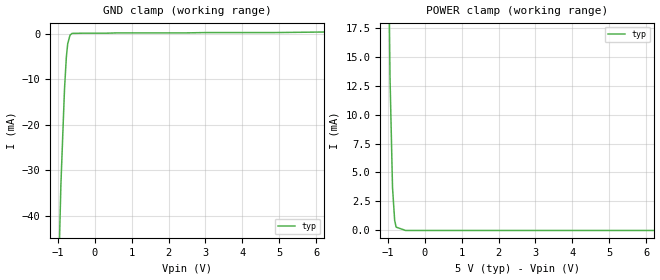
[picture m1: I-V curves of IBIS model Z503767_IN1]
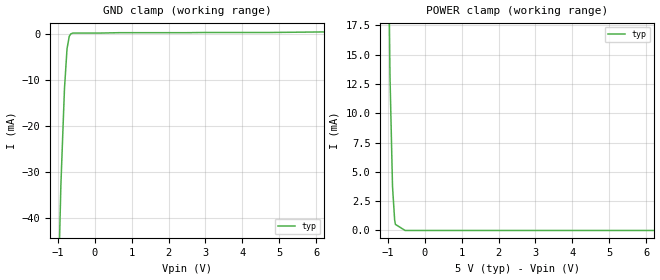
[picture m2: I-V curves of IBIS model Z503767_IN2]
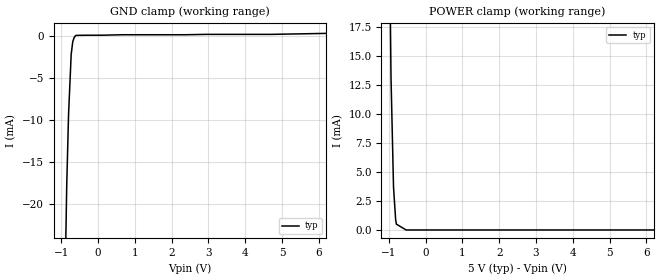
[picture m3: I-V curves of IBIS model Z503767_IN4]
| YOU ARE ONLY AUTHORIZED TO USE THIS SOFTWARE
| ACCORDING TO LICENSOR'S LICENSE RESTRICTIONS.
[IBIS Ver] 3.1
[File Name] mc74ac257dl.ibs
[File Rev] 2.0
[Source] Measured and created by ICX Technology
[Date] Friday 7/14/00 9:07:59 AM
[Copyright]
| (C) COPYRIGHT 1993-2000
| MENTOR GRAPHICS CORPORATION
| ICX STANDARD LIBRARY, ICX PROJECT MODELING,
| ICX CUSTOM MODELING, ICX VENDOR MODEL
| ALL RIGHTS RESERVED.
| THE FOLLOWING ARE TRADEMARKS OR SERVICE MARKS OF
| MENTOR GRAPHICS CORPORATION:ICX (R), ICX STANDARD
| LIBRARY(R), ICX PROJECT MODELING(R), ICX CUSTOM
| MODELING(R), qualityIBIS(TM), MODELVIEWER(TM),
| AND MODELEDITOR(TM)
| ALL COPIES OF SOFTWARE, INCLUDING BUT NOT LIMITED TO
| ANY MODIFICATIONS, ENHANCEMENTS OR DERIVATIVE WORKS,
| MUST CONTAIN ALL MENTOR GRAPHICS CORPORATION'S
| NOTICES AND LEGENDS, INCLUDING THOSE EMBEDDED IN
| SOFTWARE AND THOSE AFFIXED TO SOFTWARE MEDIUM
| AND CONTAINER, AS RECEIVED FROM MENTOR GRAPHICS
| CORPORATION.
|  ZAP Model Builder 2.7
[Component] MC74AC257DL
[Manufacturer] OnSemiconductor
[Package]
| variable   typ   min   max
R_pkg  .156ohms NA NA
L_pkg  3.148nH NA NA
C_pkg  .388pF NA NA
[Pin] signal_name  model_name  R_pin  L_pin C_pin
1 S Z503767_IN1 .162 3.798n .418p
2 A1 Z503767_IN2 .158 3.358n .398p
3 B1 Z503767_IN2 .154 2.928n .378p
4 D1 Z503767_TRI3 .15 2.508n .358p
5 A2 Z503767_IN2 .15 2.508n .358p
6 B2 Z503767_IN2 .154 2.928n .378p
7 D2 Z503767_TRI3 .158 3.358n .398p
8 GND GND .162 3.798n .418p
9 D3 Z503767_TRI3 .162 3.798n .418p
10 B3 Z503767_IN2 .158 3.358n .398p
11 A3 Z503767_IN2 .154 2.928n .378p
12 D4 Z503767_TRI3 .15 2.508n .358p
13 B4 Z503767_IN2 .15 2.508n .358p
14 A4 Z503767_IN2 .154 2.928n .378p
15 _OE Z503767_IN4 .158 3.358n .398p
16 VCC POWER .162 3.798n .418p
| Models and submodels in the file (4): Z503767_IN1 (Input), Z503767_IN2 (Input), Z503767_IN4 (Input), Z503767_TRI3 (3-state)
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| (C) COPYRIGHT 1993-2000
| MENTOR GRAPHICS CORPORATION
| ICX STANDARD LIBRARY, ICX PROJECT MODELING,
| ICX CUSTOM MODELING, ICX VENDOR MODEL
| ALL RIGHTS RESERVED.
| THE FOLLOWING ARE TRADEMARKS OR SERVICE MARKS OF
| MENTOR GRAPHICS CORPORATION:ICX (R), ICX STANDARD
| LIBRARY(R), ICX PROJECT MODELING(R), ICX CUSTOM
| MODELING(R), qualityIBIS(TM), MODELVIEWER(TM),
| AND MODELEDITOR(TM)
| ALL COPIES OF SOFTWARE, INCLUDING BUT NOT LIMITED TO
| ANY MODIFICATIONS, ENHANCEMENTS OR DERIVATIVE WORKS,
| MUST CONTAIN ALL MENTOR GRAPHICS CORPORATION'S
| NOTICES AND LEGENDS, INCLUDING THOSE EMBEDDED IN
| SOFTWARE AND THOSE AFFIXED TO SOFTWARE MEDIUM
| AND CONTAINER, AS RECEIVED FROM MENTOR GRAPHICS
| CORPORATION.
| Model Application Version 1.89 2/18/99.
[Model] Z503767_IN1
Model_type Input
Vinl = 1.500V
Vinh = 3.500V
C_comp 4.500pF NA NA
| variable typ   min   max
[Voltage Range] 5.000V NA NA
[GND Clamp Reference] 0.000V NA NA
[POWER Clamp Reference] 5.000V NA NA
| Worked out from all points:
|   GND clamp passes 1 mA (typ) near -0.69 V on its own axis
|   POWER clamp passes 1 mA (typ) near -0.81 V on its own axis
[GND Clamp]
-5V       -2.275A    NA         NA
-1.061V   -81.3mA    NA         NA
-913.1mV  -33.23mA   NA         NA
-815.4mV  -12.25mA   NA         NA
-765.4mV  -5.163mA   NA         NA
-728.2mV  -2.204mA   NA         NA
-666.7mV  -341.8uA   NA         NA
-610.3mV  62.55uA    NA         NA
4.807V    237.7uA    NA         NA
10V       704.3uA    NA         NA
[POWER Clamp]
-5V       2.665A     NA         NA
-1.133V   93.15mA    NA         NA
-1.015V   36.32mA    NA         NA
-937mV    13.26mA    NA         NA
-869mV    3.73mA     NA         NA
-811mV    870uA      NA         NA
-771mV    287.8uA    NA         NA
-514mV    0A         NA         NA
10V       0A         NA         NA
| (C) COPYRIGHT 1993-2000
| MENTOR GRAPHICS CORPORATION
| ICX STANDARD LIBRARY, ICX PROJECT MODELING,
| ICX CUSTOM MODELING, ICX VENDOR MODEL
| ALL RIGHTS RESERVED.
| THE FOLLOWING ARE TRADEMARKS OR SERVICE MARKS OF
| MENTOR GRAPHICS CORPORATION:ICX (R), ICX STANDARD
| LIBRARY(R), ICX PROJECT MODELING(R), ICX CUSTOM
| MODELING(R), qualityIBIS(TM), MODELVIEWER(TM),
| AND MODELEDITOR(TM)
| ALL COPIES OF SOFTWARE, INCLUDING BUT NOT LIMITED TO
| ANY MODIFICATIONS, ENHANCEMENTS OR DERIVATIVE WORKS,
| MUST CONTAIN ALL MENTOR GRAPHICS CORPORATION'S
| NOTICES AND LEGENDS, INCLUDING THOSE EMBEDDED IN
| SOFTWARE AND THOSE AFFIXED TO SOFTWARE MEDIUM
| AND CONTAINER, AS RECEIVED FROM MENTOR GRAPHICS
| CORPORATION.
| Model Application Version 1.89 2/18/99.
[Model] Z503767_IN2
Model_type Input
Vinl = 1.500V
Vinh = 3.500V
C_comp 4.500pF NA NA
| variable typ   min   max
[Voltage Range] 5.000V NA NA
[GND Clamp Reference] 0.000V NA NA
[POWER Clamp Reference] 5.000V NA NA
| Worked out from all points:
|   GND clamp passes 1 mA (typ) near -0.70 V on its own axis
|   POWER clamp passes 1 mA (typ) near -0.81 V on its own axis
[GND Clamp]
-5V       -2.248A    NA         NA
-1.03V    -71.17mA   NA         NA
-913.1mV  -32.94mA   NA         NA
-815.5mV  -11.94mA   NA         NA
-747.1mV  -3.341mA   NA         NA
-686.3mV  -597.3uA   NA         NA
-647.1mV  -96.94uA   NA         NA
-590.7mV  100.1uA    NA         NA
4.733V    225.5uA    NA         NA
10V       665.2uA    NA         NA
[POWER Clamp]
-5V       2.452A     NA         NA
-1.161V   102.9mA    NA         NA
-1.016V   35.28mA    NA         NA
-937mV    13.12mA    NA         NA
-869mV    3.762mA    NA         NA
-811mV    894.5uA    NA         NA
-791mV    520.1uA    NA         NA
-527.3mV  0A         NA         NA
10V       0A         NA         NA
| (C) COPYRIGHT 1993-2000
| MENTOR GRAPHICS CORPORATION
| ICX STANDARD LIBRARY, ICX PROJECT MODELING,
| ICX CUSTOM MODELING, ICX VENDOR MODEL
| ALL RIGHTS RESERVED.
| THE FOLLOWING ARE TRADEMARKS OR SERVICE MARKS OF
| MENTOR GRAPHICS CORPORATION:ICX (R), ICX STANDARD
| LIBRARY(R), ICX PROJECT MODELING(R), ICX CUSTOM
| MODELING(R), qualityIBIS(TM), MODELVIEWER(TM),
| AND MODELEDITOR(TM)
| ALL COPIES OF SOFTWARE, INCLUDING BUT NOT LIMITED TO
| ANY MODIFICATIONS, ENHANCEMENTS OR DERIVATIVE WORKS,
| MUST CONTAIN ALL MENTOR GRAPHICS CORPORATION'S
| NOTICES AND LEGENDS, INCLUDING THOSE EMBEDDED IN
| SOFTWARE AND THOSE AFFIXED TO SOFTWARE MEDIUM
| AND CONTAINER, AS RECEIVED FROM MENTOR GRAPHICS
| CORPORATION.
| Model Application Version 1.89 2/18/99.
[Model] Z503767_IN4
Model_type Input
Vinl = 1.500V
Vinh = 3.500V
C_comp 4.500pF NA NA
| variable typ   min   max
[Voltage Range] 5.000V NA NA
[GND Clamp Reference] 0.000V NA NA
[POWER Clamp Reference] 5.000V NA NA
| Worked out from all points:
|   GND clamp passes 1 mA (typ) near -0.70 V on its own axis
|   POWER clamp passes 1 mA (typ) near -0.81 V on its own axis
[GND Clamp]
-5V       -2.107A    NA         NA
-1.006V   -58.24mA   NA         NA
-849.5mV  -17.8mA    NA         NA
-799.8mV  -9.349mA   NA         NA
-728.5mV  -2.166mA   NA         NA
-686mV    -655.8uA   NA         NA
-647.1mV  -148.1uA   NA         NA
-590.6mV  104.2uA    NA         NA
4.713V    225.2uA    NA         NA
10V       640.4uA    NA         NA
[POWER Clamp]
-5V       2.758A     NA         NA
-1.133V   93.16mA    NA         NA
-1.015V   36.07mA    NA         NA
-937mV    13.18mA    NA         NA
-869mV    3.712mA    NA         NA
-811mV    877.6uA    NA         NA
-791mV    502.3uA    NA         NA
-527.3mV  0A         NA         NA
10V       0A         NA         NA
